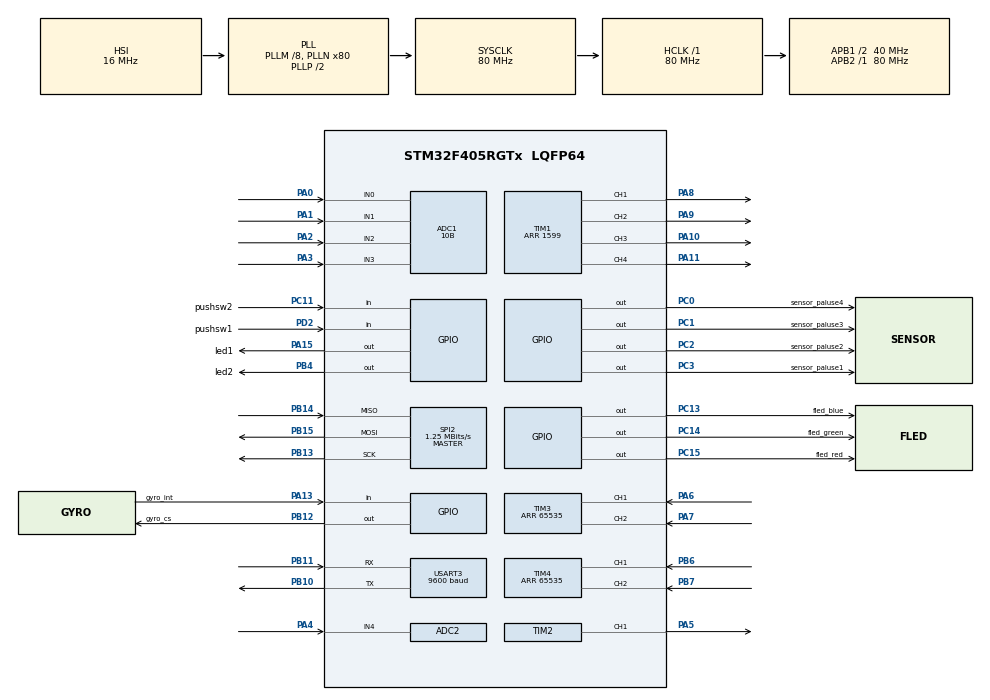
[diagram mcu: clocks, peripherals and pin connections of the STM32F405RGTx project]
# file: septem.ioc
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ADC1.Channel-0\#ChannelRegularConversion=ADC_CHANNEL_0
ADC1.Channel-1\#ChannelRegularConversion=ADC_CHANNEL_1
ADC1.Channel-2\#ChannelRegularConversion=ADC_CHANNEL_2
ADC1.Channel-3\#ChannelRegularConversion=ADC_CHANNEL_3
ADC1.ClockPrescaler=ADC_CLOCK_SYNC_PCLK_DIV4
ADC1.ContinuousConvMode=ENABLE
ADC1.DMAContinuousRequests=DISABLE
ADC1.DataAlign=ADC_DATAALIGN_RIGHT
ADC1.DiscontinuousConvMode=DISABLE
ADC1.EOCSelection=ADC_EOC_SINGLE_CONV
ADC1.EnableAnalogWatchDog=false
ADC1.ExternalTrigConv=ADC_SOFTWARE_START
ADC1.ExternalTrigConvEdge=ADC_EXTERNALTRIGCONVEDGE_NONE
ADC1.InjNumberOfConversion=0
ADC1.NbrOfConversion=4
ADC1.NbrOfConversionFlag=1
ADC1.Rank-0\#ChannelRegularConversion=1
ADC1.Rank-1\#ChannelRegularConversion=2
ADC1.Rank-2\#ChannelRegularConversion=3
ADC1.Rank-3\#ChannelRegularConversion=4
ADC1.Resolution=ADC_RESOLUTION_10B
ADC1.SamplingTime-0\#ChannelRegularConversion=ADC_SAMPLETIME_28CYCLES
ADC1.SamplingTime-1\#ChannelRegularConversion=ADC_SAMPLETIME_28CYCLES
ADC1.SamplingTime-2\#ChannelRegularConversion=ADC_SAMPLETIME_28CYCLES
ADC1.SamplingTime-3\#ChannelRegularConversion=ADC_SAMPLETIME_28CYCLES
ADC1.ScanConvMode=ENABLE
ADC1.master=1
ADC2.Channel-0\#ChannelRegularConversion=ADC_CHANNEL_4
ADC2.ClockPrescaler=ADC_CLOCK_SYNC_PCLK_DIV4
ADC2.ContinuousConvMode=ENABLE
ADC2.DMAContinuousRequests=DISABLE
ADC2.DataAlign=ADC_DATAALIGN_RIGHT
ADC2.DiscontinuousConvMode=DISABLE
ADC2.EOCSelection=ADC_EOC_SINGLE_CONV
ADC2.EnableAnalogWatchDog=false
ADC2.ExternalTrigConv=ADC_SOFTWARE_START
ADC2.ExternalTrigConvEdge=ADC_EXTERNALTRIGCONVEDGE_NONE
ADC2.InjNumberOfConversion=0
ADC2.NbrOfConversion=1
ADC2.NbrOfConversionFlag=1
ADC2.Rank-0\#ChannelRegularConversion=1
ADC2.Resolution=ADC_RESOLUTION_12B
ADC2.SamplingTime-0\#ChannelRegularConversion=ADC_SAMPLETIME_28CYCLES
ADC2.ScanConvMode=ENABLE
Mcu.Family=STM32F4
Mcu.Name=STM32F405RGTx
Mcu.Package=LQFP64
NVIC.PriorityGroup=NVIC_PRIORITYGROUP_4
NVIC.TIM5_IRQn=true\:0\:0\:false\:false\:true\:true
PA0-WKUP.Signal=ADCx_IN0
PA1.Signal=ADCx_IN1
PA10.Signal=S_TIM1_CH3
PA11.Signal=S_TIM1_CH4
PA13.GPIO_Label=gyro_int
PA13.Signal=GPIO_Input
PA15.GPIO_Label=led1
PA15.Signal=GPIO_Output
PA2.Signal=ADCx_IN2
PA3.Signal=ADCx_IN3
PA4.Signal=ADCx_IN4
PA5.Signal=S_TIM2_CH1_ETR
PA6.Signal=S_TIM3_CH1
PA7.Signal=S_TIM3_CH2
PA8.Signal=S_TIM1_CH1
PA9.Signal=S_TIM1_CH2
PB10.Mode=Asynchronous
PB10.Signal=USART3_TX
PB11.Mode=Asynchronous
PB11.Signal=USART3_RX
PB12.GPIO_Label=gyro_cs
PB12.Signal=GPIO_Output
PB13.Mode=Full_Duplex_Master
PB13.Signal=SPI2_SCK
PB14.Mode=Full_Duplex_Master
PB14.Signal=SPI2_MISO
PB15.Mode=Full_Duplex_Master
PB15.Signal=SPI2_MOSI
PB4.GPIO_Label=led2
PB4.Signal=GPIO_Output
PB6.Signal=S_TIM4_CH1
PB7.Signal=S_TIM4_CH2
PC0.GPIO_Label=sensor_paluse4
PC0.GPIO_Speed=GPIO_SPEED_FREQ_HIGH
PC0.Signal=GPIO_Output
PC1.GPIO_Label=sensor_paluse3
PC1.GPIO_Speed=GPIO_SPEED_FREQ_HIGH
PC1.Signal=GPIO_Output
PC11.GPIO_Label=pushsw2
PC11.Signal=GPIO_Input
PC13-ANTI_TAMP.GPIO_Label=fled_blue
PC13-ANTI_TAMP.Signal=GPIO_Output
PC14-OSC32_IN.GPIO_Label=fled_green
PC14-OSC32_IN.Signal=GPIO_Output
PC15-OSC32_OUT.GPIO_Label=fled_red
PC15-OSC32_OUT.Signal=GPIO_Output
PC2.GPIO_Label=sensor_paluse2
PC2.GPIO_Speed=GPIO_SPEED_FREQ_HIGH
PC2.Signal=GPIO_Output
PC3.GPIO_Label=sensor_paluse1
PC3.GPIO_Speed=GPIO_SPEED_FREQ_HIGH
PC3.Signal=GPIO_Output
PD2.GPIO_Label=pushsw1
PD2.Signal=GPIO_Input
ProjectManager.HeapSize=0x200
ProjectManager.StackSize=0x400
ProjectManager.TargetToolchain=Makefile
RCC.48MHZClocksFreq_Value=40000000
RCC.AHBFreq_Value=80000000
RCC.APB1CLKDivider=RCC_HCLK_DIV2
RCC.APB1Freq_Value=40000000
RCC.APB1TimFreq_Value=80000000
RCC.APB2Freq_Value=80000000
RCC.APB2TimFreq_Value=80000000
RCC.CortexFreq_Value=80000000
RCC.HCLKFreq_Value=80000000
RCC.HSE_VALUE=25000000
RCC.HSI_VALUE=16000000
RCC.LSE_VALUE=32768
RCC.PLLM=8
RCC.PLLN=80
RCC.SYSCLKFreq_VALUE=80000000
RCC.SYSCLKSource=RCC_SYSCLKSOURCE_PLLCLK
RCC.VCOOutputFreq_Value=160000000
SH.ADCx_IN0.0=ADC1_IN0,IN0
SH.ADCx_IN1.0=ADC1_IN1,IN1
SH.ADCx_IN2.0=ADC1_IN2,IN2
SH.ADCx_IN3.0=ADC1_IN3,IN3
SH.ADCx_IN4.0=ADC2_IN4,IN4
SH.S_TIM1_CH1.0=TIM1_CH1,PWM Generation1 CH1
SH.S_TIM1_CH2.0=TIM1_CH2,PWM Generation2 CH2
SH.S_TIM1_CH3.0=TIM1_CH3,PWM Generation3 CH3
SH.S_TIM1_CH4.0=TIM1_CH4,PWM Generation4 CH4
SH.S_TIM2_CH1_ETR.0=TIM2_CH1,PWM Generation1 CH1
SH.S_TIM3_CH1.0=TIM3_CH1,Encoder_Interface
SH.S_TIM3_CH2.0=TIM3_CH2,Encoder_Interface
SH.S_TIM4_CH1.0=TIM4_CH1,Encoder_Interface
SH.S_TIM4_CH2.0=TIM4_CH2,Encoder_Interface
SPI2.BaudRatePrescaler=SPI_BAUDRATEPRESCALER_32
SPI2.CalculateBaudRate=1.25 MBits/s
SPI2.Direction=SPI_DIRECTION_2LINES
SPI2.Mode=SPI_MODE_MASTER
SPI2.VirtualType=VM_MASTER
TIM1.Channel-PWM\ Generation1\ CH1=TIM_CHANNEL_1
TIM1.Channel-PWM\ Generation2\ CH2=TIM_CHANNEL_2
TIM1.Channel-PWM\ Generation3\ CH3=TIM_CHANNEL_3
TIM1.Channel-PWM\ Generation4\ CH4=TIM_CHANNEL_4
TIM1.Period=1599
TIM2.Channel-PWM\ Generation1\ CH1=TIM_CHANNEL_1
TIM2.Period=99
TIM2.Prescaler=799
TIM3.EncoderMode=TIM_ENCODERMODE_TI12
TIM3.Period=65535
TIM4.EncoderMode=TIM_ENCODERMODE_TI12
TIM4.Period=65535
TIM5.Period=999
TIM5.Prescaler=9
USART3.BaudRate=9600
USART3.VirtualMode=VM_ASYNC
VP_TIM5_VS_ClockSourceINT.Mode=Internal
board=septem

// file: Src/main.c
/**
  ******************************************************************************
  * File Name          : main.c
  * Description        : Main program body
  ******************************************************************************
  ** This notice applies to any and all portions of this file
  * that are not between comment pairs USER CODE BEGIN and
  * USER CODE END. Other portions of this file, whether
  * inserted by the user or by software development tools
  * are owned by their respective copyright owners.
  *
  * COPYRIGHT(c) 2018 STMicroelectronics
  *
  * Redistribution and use in source and binary forms, with or without modification,
  * are permitted provided that the following conditions are met:
  *   1. Redistributions of source code must retain the above copyright notice,
  *      this list of conditions and the following disclaimer.
  *   2. Redistributions in binary form must reproduce the above copyright notice,
  *      this list of conditions and the following disclaimer in the documentation
  *      and/or other materials provided with the distribution.
  *   3. Neither the name of STMicroelectronics nor the names of its contributors
  *      may be used to endorse or promote products derived from this software
  *      without specific prior written permission.
  *
  * THIS SOFTWARE IS PROVIDED BY THE COPYRIGHT HOLDERS AND CONTRIBUTORS "AS IS"
  * AND ANY EXPRESS OR IMPLIED WARRANTIES, INCLUDING, BUT NOT LIMITED TO, THE
  * IMPLIED WARRANTIES OF MERCHANTABILITY AND FITNESS FOR A PARTICULAR PURPOSE ARE
  * DISCLAIMED. IN NO EVENT SHALL THE COPYRIGHT HOLDER OR CONTRIBUTORS BE LIABLE
  * FOR ANY DIRECT, INDIRECT, INCIDENTAL, SPECIAL, EXEMPLARY, OR CONSEQUENTIAL
  * DAMAGES (INCLUDING, BUT NOT LIMITED TO, PROCUREMENT OF SUBSTITUTE GOODS OR
  * SERVICES; LOSS OF USE, DATA, OR PROFITS; OR BUSINESS INTERRUPTION) HOWEVER
  * CAUSED AND ON ANY THEORY OF LIABILITY, WHETHER IN CONTRACT, STRICT LIABILITY,
  * OR TORT (INCLUDING NEGLIGENCE OR OTHERWISE) ARISING IN ANY WAY OUT OF THE USE
  * OF THIS SOFTWARE, EVEN IF ADVISED OF THE POSSIBILITY OF SUCH DAMAGE.
  *
  ******************************************************************************
  */
#include "main.h"
#include "stm32f4xx_hal.h"
#include "adc.h"
#include "spi.h"
#include "tim.h"
#include "usart.h"
#include "gpio.h"

/* USER CODE BEGIN Includes */
#include <stdio.h>
#include <stdint.h>

#include "global_var.h"
#include "config.h"

#include "led.h"
#include "flash.h"

#include "function.h"
#include "logger.h"

#include "trackMotion.h"
#include "motion.h"
#include "targetGenerator.h"

#include "timer.h"
#include "systemOperator.h"

#ifdef __GNUC__
#define PUTCHAR_PROTOTYPE int __io_putchar(int ch)
#else
#define PUTCHAR_PROTOTYPE int fputc(int ch, FILE *f)
#endif /* __GNUC__ */
void __io_putchar(uint8_t ch) {
HAL_UART_Transmit(&huart3, &ch, 1, 1);
}

/* USER CODE END Includes */

/* USER CODE BEGIN PV */
/* Private variables ---------------------------------------------------------*/

/* USER CODE END PV */

void SystemClock_Config(void);

/* USER CODE BEGIN PFP */
/* Private function prototypes -----------------------------------------------*/

/* USER CODE END PFP */

int main(void)
{

  /* MCU Configuration----------------------------------------------------------*/

  /* Reset of all peripherals, Initializes the Flash interface and the Systick. */
  HAL_Init();

  /* Configure the system clock */
  SystemClock_Config();

  /* Initialize all configured peripherals */
  MX_GPIO_Init();
  MX_ADC1_Init();
  MX_ADC2_Init();
  MX_TIM1_Init();
  MX_TIM2_Init();
  MX_TIM3_Init();
  MX_TIM4_Init();
  MX_TIM5_Init();
  MX_USART3_UART_Init();
  MX_SPI2_Init();

  /* USER CODE BEGIN 2 */
  machine_init();
  /* USER CODE END 2 */

  /* Infinite loop */
  while (1)
  {

  /* USER CODE BEGIN 3 */
    MauseSystem();
  }
  /* USER CODE END 3 */

}

/** System Clock Configuration
*/
void SystemClock_Config(void)
{

  RCC_OscInitTypeDef RCC_OscInitStruct;
  RCC_ClkInitTypeDef RCC_ClkInitStruct;

    /**Configure the main internal regulator output voltage
    */
  __HAL_RCC_PWR_CLK_ENABLE();

  __HAL_PWR_VOLTAGESCALING_CONFIG(PWR_REGULATOR_VOLTAGE_SCALE1);

    /**Initializes the CPU, AHB and APB busses clocks
    */
  RCC_OscInitStruct.OscillatorType = RCC_OSCILLATORTYPE_HSI;
  RCC_OscInitStruct.HSIState = RCC_HSI_ON;
  RCC_OscInitStruct.HSICalibrationValue = 16;
  RCC_OscInitStruct.PLL.PLLState = RCC_PLL_ON;
  RCC_OscInitStruct.PLL.PLLSource = RCC_PLLSOURCE_HSI;
  RCC_OscInitStruct.PLL.PLLM = 8;
  RCC_OscInitStruct.PLL.PLLN = 80;
  RCC_OscInitStruct.PLL.PLLP = RCC_PLLP_DIV2;
  RCC_OscInitStruct.PLL.PLLQ = 4;
  if (HAL_RCC_OscConfig(&RCC_OscInitStruct) != HAL_OK)
  {
    _Error_Handler(__FILE__, __LINE__);
  }

    /**Initializes the CPU, AHB and APB busses clocks
    */
  RCC_ClkInitStruct.ClockType = RCC_CLOCKTYPE_HCLK|RCC_CLOCKTYPE_SYSCLK
                              |RCC_CLOCKTYPE_PCLK1|RCC_CLOCKTYPE_PCLK2;
  RCC_ClkInitStruct.SYSCLKSource = RCC_SYSCLKSOURCE_PLLCLK;
  RCC_ClkInitStruct.AHBCLKDivider = RCC_SYSCLK_DIV1;
  RCC_ClkInitStruct.APB1CLKDivider = RCC_HCLK_DIV2;
  RCC_ClkInitStruct.APB2CLKDivider = RCC_HCLK_DIV1;

  if (HAL_RCC_ClockConfig(&RCC_ClkInitStruct, FLASH_LATENCY_2) != HAL_OK)
  {
    _Error_Handler(__FILE__, __LINE__);
  }

    /**Configure the Systick interrupt time
    */
  HAL_SYSTICK_Config(HAL_RCC_GetHCLKFreq()/1000);

    /**Configure the Systick
    */
  HAL_SYSTICK_CLKSourceConfig(SYSTICK_CLKSOURCE_HCLK);

  /* SysTick_IRQn interrupt configuration */
  HAL_NVIC_SetPriority(SysTick_IRQn, 0, 0);
}

void _Error_Handler(char * file, int line)
{
  while(1)
  {
  }
}

/************************ (C) COPYRIGHT STMicroelectronics *****END OF FILE****/
